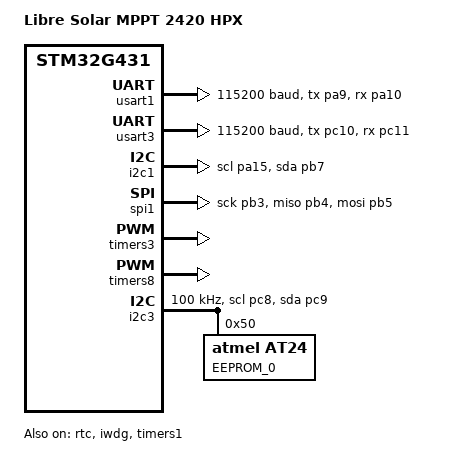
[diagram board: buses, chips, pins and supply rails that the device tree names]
/*
 * SPDX-License-Identifier: Apache-2.0
 *
 * Copyright (c) 2020 Martin Jäger / Libre Solar
 */

/dts-v1/;
#include <st/g4/stm32g431Xb.dtsi>
#include <st/g4/stm32g431r(6-8-b)tx-pinctrl.dtsi>

/ {
	model = "Libre Solar MPPT 2420 HPX";
	compatible = "st,stm32g431";

	pcb {
		compatible = "charge-controller";

		type = "MPPT 2420 HPX";
		version-str = "v0.1";
		version-num = <1>;

		hs-voltage-max = <80>;
		ls-voltage-max = <32>;
		dcdc-current-max = <20>;
	};

	chosen {
		zephyr,console = &usart1;
		zephyr,shell-uart = &usart1;
		zephyr,sram = &sram0;
		zephyr,flash = &flash0;
	};

	leds {
		compatible = "charlieplexing-leds";
		gpios = <&gpioc 15 GPIO_ACTIVE_HIGH>;

		pwr {
			states = <1>;
		};
	};

	outputs {
		compatible = "outputs";

		pwm_switch {
			label = "PWM power switch (solar panel)";
			pwms = <&pwm3 2 (20*1000*1000) PWM_POLARITY_NORMAL>; /* 20 ms period = 50 Hz */
			current-max = <20>;
			kconfig-flag;	/* make node visible in Kconfig */
		};

		load {
			label = "Load output";
			gpios = <&gpiob 15 GPIO_ACTIVE_LOW>;
			current-max = <20>;
			kconfig-flag;	/* make node visible in Kconfig */
		};

		charge_pump {
			label = "Charge pump for HS MOSFET drivers";
			pwms = <&pwm8 1 200000 PWM_POLARITY_NORMAL>; /* 200 us period = 5 kHz */
		};

		hv-out {
			label = "HV output sense and enable switch";
			gpios = <&gpiob 12 GPIO_ACTIVE_LOW>;
		};
	};

	adc-inputs {
		compatible = "adc-inputs";

		v-low {
			io-channels = <&adc1 12>;
			multiplier = <105600>;
			divider = <5600>;
		};

		v-high {
			io-channels = <&adc1 15>;
			multiplier = <102200>;
			divider = <2200>;
		};

		hv-ext-sense {
			io-channels = <&adc1 11>;
			multiplier = <1>;
			divider = <1>;
		};

		v-pwm {
			io-channels = <&adc1 4>;
			multiplier = <25224>;	// (12*8.2 + 120*8.2 + 120*12) * 10
			divider = <984>;	// (8.2*12) * 10
			offset = <37414>;	// 65536 / (1 + 8.2/120 + 8.2/12)
		};

		temp-fets {
			io-channels = <&adc1 6>;
			multiplier = <10000>;	// 10k NTC series resistor
			divider = <1>;
		};

		vref-mcu {
			io-channels = <&adc1 18>;
			multiplier = <1>;
			divider = <1>;
		};

		temp-mcu {
			io-channels = <&adc1 16>;
			multiplier = <1>;
			divider = <1>;
		};

		i-dcdc {
			io-channels = <&adc2 1>;
			// amp gain: 20, resistor: 2 mOhm
			multiplier = <1000>;	// 1000
			divider = <40>;	// 2*20
		};

		i-load {
			io-channels = <&adc2 2>;
			// amp gain: 68/2.2, resistor: 2 mOhm
			multiplier = <2200>;	// 1000*2.2
			divider = <136>;	// 2*68
		};

		i-pwm {
			io-channels = <&adc2 5>;
			// amp gain: 68/2.2, resistor: 2 mOhm
			multiplier = <2200>;	// 1000*2.2
			divider = <136>;	// 2*68
		};
	};

	aliases {
		uart-dbg = &usart1;
		uart-uext = &usart3;
		spi-uext = &spi1;
		i2c-uext = &i2c1;
	};
};

&usart1 {
	pinctrl-0 = <&usart1_tx_pa9 &usart1_rx_pa10>;
	current-speed = <115200>;
	status = "okay";
};

&usart3 {
	pinctrl-0 = <&usart3_tx_pc10 &usart3_rx_pc11>;
	current-speed = <115200>;
	status = "okay";
};

&i2c1 {
	pinctrl-0 = <&i2c1_scl_pa15 &i2c1_sda_pb7>;
	status = "okay";
};

&spi1 {
	pinctrl-0 = <&spi1_sck_pb3 &spi1_miso_pb4 &spi1_mosi_pb5>;
	cs-gpios = <&gpiod 2 GPIO_ACTIVE_LOW>;
	status = "okay";
};

&rtc {
	status = "okay";
};

&flash0 {
	/*
	 * For more information, see:
	 * http://docs.zephyrproject.org/latest/guides/dts/index.html#flash-partitions
	 */
	partitions {
		compatible = "fixed-partitions";
		#address-cells = <1>;
		#size-cells = <1>;

		/* Set 4Kb of storage at the end of the 128Kb of flash */
		storage_partition: partition@1f000 {
			label = "storage";
			reg = <0x0001f000 0x00001000>;
		};
	};
};

&iwdg {
	status = "okay";
};

&timers1 {
	status = "okay";

	halfbridge {
		compatible = "half-bridge";
		pinctrl-0 = <&tim1_ch1_pa8 &tim1_ch1n_pb13>;
		frequency = <70000>;
		deadtime = <300>;
	};
};

/* TIM3 (CH2) used for PWM power switch */
&timers3 {
	status = "okay";
	pwm3: pwm {
		status = "okay";
		pinctrl-0 = <&tim3_ch2_pc7>;
	};
};

/* TIM8 (CH1) used for charge pump */
&timers8 {
	status = "okay";
	pwm8: pwm {
		status = "okay";
		st,prescaler = <149>;	/* reduce counter clock frequency to 1 MHz */
		pinctrl-0 = <&tim8_ch1_pc6>;
	};
};

&i2c3 {
	pinctrl-0 = <&i2c3_scl_pc8 &i2c3_sda_pc9>;
	status = "okay";
	clock-frequency = <I2C_BITRATE_STANDARD>;
	eeprom@50 {
		// Microchip 24AA32A
		compatible = "atmel,at24";
		reg = <0x50>;
		label = "EEPROM_0";
		size = <32768>;
		pagesize = <32>;
		address-width = <16>;
		/*
		 * timeout of 5 ms as suggested in datasheet seems too optimistic
		 * (several write errors occured during testing)
		 */
		timeout = <7>;
	};
};
